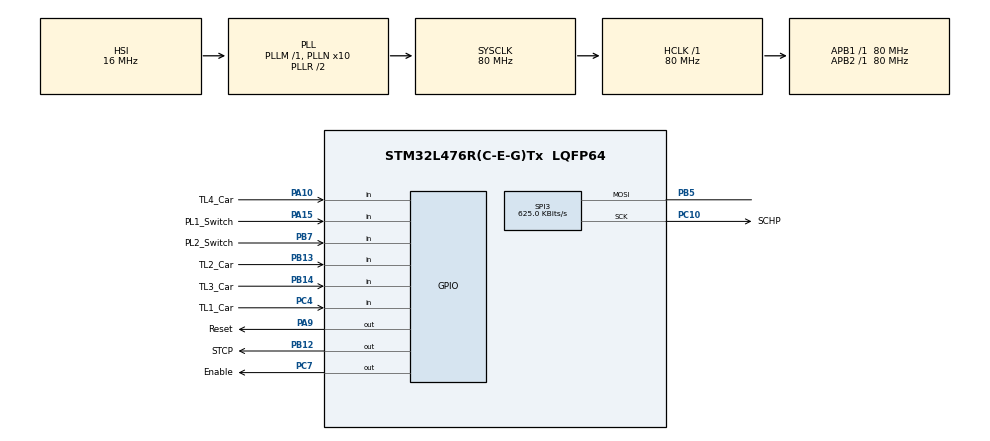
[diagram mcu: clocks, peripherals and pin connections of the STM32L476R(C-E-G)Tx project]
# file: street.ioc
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FREERTOS.BinarySemaphores01=buttonsSem,Dynamic,NULL;switchesSem,Dynamic,NULL
FREERTOS.Mutexes01=event,Dynamic,NULL
FREERTOS.Tasks01=defaultTask,50,128,StartDefaultTask,Default,NULL,Dynamic,NULL,NULL;GPIO_Button1,40,128,Button_Task1,Default,NULL,Dynamic,NULL,NULL;GPIO_Switches,40,128,Switches,Default,NULL,Dynamic,NULL,NULL;Timer_Func,49,128,timer,Default,NULL,Dynamic,NULL,NULL;GPIO_Button2,40,128,Button_Task2,Default,NULL,Dynamic,NULL,NULL
FREERTOS.configTOTAL_HEAP_SIZE=4000
FREERTOS.configUSE_NEWLIB_REENTRANT=1
Mcu.Family=STM32L4
Mcu.Name=STM32L476R(C-E-G)Tx
Mcu.Package=LQFP64
NVIC.PriorityGroup=NVIC_PRIORITYGROUP_4
NVIC.TIM1_UP_TIM16_IRQn=true\:15\:0\:false\:false\:true\:false\:false\:true\:true
NVIC.TimeBase=TIM1_UP_TIM16_IRQn
NVIC.TimeBaseIP=TIM1
PA10.GPIO_Label=TL4_Car
PA10.Signal=GPIO_Input
PA15\ (JTDI).GPIO_Label=PL1_Switch
PA15\ (JTDI).GPIO_PuPd=GPIO_PULLUP
PA15\ (JTDI).Signal=GPIO_Input
PA9.GPIO_Label=Reset
PA9.Signal=GPIO_Output
PB12.GPIO_Label=STCP
PB12.Signal=GPIO_Output
PB13.GPIO_Label=TL2_Car
PB13.Signal=GPIO_Input
PB14.GPIO_Label=TL3_Car
PB14.Signal=GPIO_Input
PB5.Mode=Simplex_Bidirectional_Master
PB5.Signal=SPI3_MOSI
PB7.GPIO_Label=PL2_Switch
PB7.GPIO_PuPd=GPIO_PULLUP
PB7.Signal=GPIO_Input
PC10.GPIO_Label=SCHP
PC10.Mode=Simplex_Bidirectional_Master
PC10.Signal=SPI3_SCK
PC4.GPIO_Label=TL1_Car
PC4.Signal=GPIO_Input
PC7.GPIO_Label=Enable
PC7.Signal=GPIO_Output
PH0-OSC_IN\ (PH0).Mode=HSE-External-Oscillator
PH0-OSC_IN\ (PH0).Signal=RCC_OSC_IN
PH1-OSC_OUT\ (PH1).Mode=HSE-External-Oscillator
PH1-OSC_OUT\ (PH1).Signal=RCC_OSC_OUT
ProjectManager.HeapSize=0x200
ProjectManager.StackSize=0x400
ProjectManager.TargetToolchain=STM32CubeIDE
RCC.ADCFreq_Value=64000000
RCC.AHBFreq_Value=80000000
RCC.APB1Freq_Value=80000000
RCC.APB1TimFreq_Value=80000000
RCC.APB2Freq_Value=80000000
RCC.APB2TimFreq_Value=80000000
RCC.CortexFreq_Value=80000000
RCC.HCLKFreq_Value=80000000
RCC.HSE_VALUE=8000000
RCC.HSI_VALUE=16000000
RCC.LSE_VALUE=32768
RCC.MSI_VALUE=4000000
RCC.PLLN=10
RCC.PLLSourceVirtual=RCC_PLLSOURCE_HSI
RCC.PREFETCH_ENABLE=1
RCC.SYSCLKFreq_VALUE=80000000
RCC.SYSCLKSource=RCC_SYSCLKSOURCE_PLLCLK
RCC.USBFreq_Value=64000000
RCC.VCOOutputFreq_Value=160000000
SPI3.BaudRatePrescaler=SPI_BAUDRATEPRESCALER_128
SPI3.CalculateBaudRate=625.0 KBits/s
SPI3.DataSize=SPI_DATASIZE_8BIT
SPI3.Direction=SPI_DIRECTION_1LINE
SPI3.Mode=SPI_MODE_MASTER
SPI3.VirtualType=VM_MASTER
VP_FREERTOS_VS_CMSIS_V2.Mode=CMSIS_V2
VP_SYS_VS_tim1.Mode=TIM1
board=NUCLEO-L476RG

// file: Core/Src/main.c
/* USER CODE BEGIN Header */
/**
  ******************************************************************************
  * @file           : main.c
  * @brief          : Main program body
  ******************************************************************************
  * @attention
  *
  * Copyright (c) 2022 STMicroelectronics.
  * All rights reserved.
  *
  * This software is licensed under terms that can be found in the LICENSE file
  * in the root directory of this software component.
  * If no LICENSE file comes with this software, it is provided AS-IS.
  *
  ******************************************************************************
  */
/* USER CODE END Header */
#include "main.h"
#include "cmsis_os.h"
#include "spi.h"
#include "gpio.h"

/* USER CODE BEGIN Includes */
#include "FreeRTOS.h"
#include "streetFunc.H"
#include "Test.h"

//#define RUN_TEST_PROGRAM
/* USER CODE END Includes */

void SystemClock_Config(void);
void MX_FREERTOS_Init(void);

int main(void)
{

  /* MCU Configuration--------------------------------------------------------*/

  /* Reset of all peripherals, Initializes the Flash interface and the Systick. */
  HAL_Init();

  /* Configure the system clock */
  SystemClock_Config();

  /* Initialize all configured peripherals */
  MX_GPIO_Init();
  MX_SPI3_Init();
  /* USER CODE BEGIN 2 */
  HAL_GPIO_WritePin(Reset_GPIO_Port, Reset_Pin, GPIO_PIN_SET);
    //Set Enable active low
  HAL_GPIO_WritePin(Enable_GPIO_Port, Enable_Pin, GPIO_PIN_RESET);

#ifdef RUN_TEST_PROGRAM
  	  Test_program();
#else
  	 Led_Clear();
  	  /* Init scheduler */
  	  osKernelInitialize();  /* Call init function for freertos objects (in freertos.c) */
  	  MX_FREERTOS_Init();

  	  /* Start scheduler */
  	  osKernelStart();
#endif
  /* USER CODE END 2 */

  /* We should never get here as control is now taken by the scheduler */
  /* Infinite loop */
  /* USER CODE BEGIN WHILE */
  // Reset all shift registers

  while (1)
  {
    /* USER CODE END WHILE */

  }
}

void SystemClock_Config(void)
{
  RCC_OscInitTypeDef RCC_OscInitStruct = {0};
  RCC_ClkInitTypeDef RCC_ClkInitStruct = {0};

  /** Configure the main internal regulator output voltage
  */
  if (HAL_PWREx_ControlVoltageScaling(PWR_REGULATOR_VOLTAGE_SCALE1) != HAL_OK)
  {
    Error_Handler();
  }

  /** Initializes the RCC Oscillators according to the specified parameters
  * in the RCC_OscInitTypeDef structure.
  */
  RCC_OscInitStruct.OscillatorType = RCC_OSCILLATORTYPE_HSI;
  RCC_OscInitStruct.HSIState = RCC_HSI_ON;
  RCC_OscInitStruct.HSICalibrationValue = RCC_HSICALIBRATION_DEFAULT;
  RCC_OscInitStruct.PLL.PLLState = RCC_PLL_ON;
  RCC_OscInitStruct.PLL.PLLSource = RCC_PLLSOURCE_HSI;
  RCC_OscInitStruct.PLL.PLLM = 1;
  RCC_OscInitStruct.PLL.PLLN = 10;
  RCC_OscInitStruct.PLL.PLLP = RCC_PLLP_DIV7;
  RCC_OscInitStruct.PLL.PLLQ = RCC_PLLQ_DIV2;
  RCC_OscInitStruct.PLL.PLLR = RCC_PLLR_DIV2;
  if (HAL_RCC_OscConfig(&RCC_OscInitStruct) != HAL_OK)
  {
    Error_Handler();
  }

  /** Initializes the CPU, AHB and APB buses clocks
  */
  RCC_ClkInitStruct.ClockType = RCC_CLOCKTYPE_HCLK|RCC_CLOCKTYPE_SYSCLK
                              |RCC_CLOCKTYPE_PCLK1|RCC_CLOCKTYPE_PCLK2;
  RCC_ClkInitStruct.SYSCLKSource = RCC_SYSCLKSOURCE_PLLCLK;
  RCC_ClkInitStruct.AHBCLKDivider = RCC_SYSCLK_DIV1;
  RCC_ClkInitStruct.APB1CLKDivider = RCC_HCLK_DIV1;
  RCC_ClkInitStruct.APB2CLKDivider = RCC_HCLK_DIV1;

  if (HAL_RCC_ClockConfig(&RCC_ClkInitStruct, FLASH_LATENCY_4) != HAL_OK)
  {
    Error_Handler();
  }
}

void HAL_TIM_PeriodElapsedCallback(TIM_HandleTypeDef *htim)
{
  if (htim->Instance == TIM1) {
    HAL_IncTick();
  }
}

void Error_Handler(void)
{
  __disable_irq();
  while (1)
  {
  }
}

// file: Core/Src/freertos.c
/* USER CODE BEGIN Header */
/**
 ******************************************************************************
 * File Name          : freertos.c
 * Description        : Code for freertos applications
 ******************************************************************************
 * @attention
 *
 * Copyright (c) 2022 STMicroelectronics.
 * All rights reserved.
 *
 * This software is licensed under terms that can be found in the LICENSE file
 * in the root directory of this software component.
 * If no LICENSE file comes with this software, it is provided AS-IS.
 *
 ******************************************************************************
 */
/* USER CODE END Header */

#include "FreeRTOS.h"
#include "task.h"
#include "main.h"
#include "cmsis_os.h"

/* USER CODE BEGIN Includes */
#include <stdbool.h>
#include "streetFunc.h"
#include "Test.h"
/* USER CODE END Includes */

/* USER CODE BEGIN PTD */
typedef enum {
	Vertical, Horizontal, Yellow
} states1;

typedef enum {
	Default, Button1, Button2, Horizontal_Car, Vertical_Car
} states2;

static states1 state;
static states2 GPIO_State;
/* USER CODE END PTD */

/* USER CODE BEGIN Variables */
bool Waiting_Cars = false;

uint32_t toggleFreq = 100; //Toogle frequency for pedestrian light
uint32_t pedestrianDelay = 6000; //Time from pedestrian button pressed to green light
uint32_t walkingDelay = 15000; //Delay for pedestrian crossing
uint32_t orangeDelay = 3000; //Delay for orange light time
uint32_t greenDelay = 6000; // The default delay between green-yellow red-yellow when no cars are present
uint32_t redDelayMax = 5000; //The maximum delay a car has a red light when arriving at the crossing when cars going vertically are present.

/* USER CODE END Variables */
/* Definitions for defaultTask */
osThreadId_t defaultTaskHandle;
const osThreadAttr_t defaultTask_attributes = { .name = "defaultTask",
		.stack_size = 128 * 4, .priority = (osPriority_t) osPriorityRealtime2, };
/* Definitions for GPIO_Button1 */
osThreadId_t GPIO_Button1Handle;
const osThreadAttr_t GPIO_Button1_attributes = { .name = "GPIO_Button1",
		.stack_size = 128 * 4, .priority = (osPriority_t) osPriorityHigh, };
/* Definitions for GPIO_Switches */
osThreadId_t GPIO_SwitchesHandle;
const osThreadAttr_t GPIO_Switches_attributes = { .name = "GPIO_Switches",
		.stack_size = 128 * 4, .priority = (osPriority_t) osPriorityHigh, };
/* Definitions for Timer_Func */
osThreadId_t Timer_FuncHandle;
const osThreadAttr_t Timer_Func_attributes = { .name = "Timer_Func",
		.stack_size = 128 * 4, .priority = (osPriority_t) osPriorityRealtime1, };
/* Definitions for GPIO_Button2 */
osThreadId_t GPIO_Button2Handle;
const osThreadAttr_t GPIO_Button2_attributes = { .name = "GPIO_Button2",
		.stack_size = 128 * 4, .priority = (osPriority_t) osPriorityHigh, };
/* Definitions for event */
osMutexId_t eventHandle;
const osMutexAttr_t event_attributes = { .name = "event" };
/* Definitions for buttonsSem */
osSemaphoreId_t buttonsSemHandle;
const osSemaphoreAttr_t buttonsSem_attributes = { .name = "buttonsSem" };
/* Definitions for switchesSem */
osSemaphoreId_t switchesSemHandle;
const osSemaphoreAttr_t switchesSem_attributes = { .name = "switchesSem" };

void StartDefaultTask(void *argument);
void Button_Task1(void *argument);
void Switches(void *argument);
void timer(void *argument);
void Button_Task2(void *argument);
void Stall_Function(uint32_t delay);
void Button1_TimerHandler(void);
void Button2_TimerHandler(void);

void MX_FREERTOS_Init(void); /* (MISRA C 2004 rule 8.1) */

void MX_FREERTOS_Init(void) {
	/* Create the mutex(es) */
	/* creation of event */
	eventHandle = osMutexNew(&event_attributes);

	/* Create the semaphores(s) */
	/* creation of buttonsSem */
	buttonsSemHandle = osSemaphoreNew(1, 1, &buttonsSem_attributes);

	/* creation of switchesSem */
	switchesSemHandle = osSemaphoreNew(1, 1, &switchesSem_attributes);

	/* Create the thread(s) */
	/* creation of defaultTask */
	defaultTaskHandle = osThreadNew(StartDefaultTask, NULL,
			&defaultTask_attributes);

	/* creation of GPIO_Button1 */
	GPIO_Button1Handle = osThreadNew(Button_Task1, NULL,
			&GPIO_Button1_attributes);

	/* creation of GPIO_Switches */
	GPIO_SwitchesHandle = osThreadNew(Switches, NULL,
			&GPIO_Switches_attributes);

	/* creation of Timer_Func */
	Timer_FuncHandle = osThreadNew(timer, NULL, &Timer_Func_attributes);

	/* creation of GPIO_Button2 */
	GPIO_Button2Handle = osThreadNew(Button_Task2, NULL,
			&GPIO_Button2_attributes);

}

void StartDefaultTask(void *argument) {
	/* USER CODE BEGIN StartDefaultTask */
	//Highest priority task which cycles through the different states
	//Depending on the delay in Timer-task
	//Set the GPIO to default, meaning no user input at initialisation
	GPIO_State = Default;
	/* Infinite loop */
	for (;;) {
		state = Vertical;
		States(1); //Display the LEDS for when cars going vertically has the green light
		vTaskDelay(1); // Small delay to prevent loss of data to the LEDS
		vTaskSuspend(defaultTaskHandle);

		state = Yellow;
		States(3);
		vTaskSuspend(defaultTaskHandle);

		state = Horizontal;
		States(2);
		vTaskDelay(1);
		vTaskSuspend(defaultTaskHandle);

		state = Yellow;
		States(3);
		vTaskDelay(1);
		vTaskSuspend(defaultTaskHandle);

	}
	/* USER CODE END StartDefaultTask */
}

void Button_Task1(void *argument) {
	/* USER CODE BEGIN Button_Task1 */
	/* Infinite loop */
	for (;;) {
		if (Crossing_Button1() == true && state != Horizontal)
			while (state != Horizontal) {
				Flash_Led(6, 'b', 1, 1);
				vTaskDelay(pdMS_TO_TICKS(toggleFreq));
				if ((osSemaphoreAcquire(buttonsSemHandle, 1) == osOK))
					GPIO_State = Button1;
			}
		Blue_Clear1();

	}
	/* USER CODE END Button_Task1 */
}

void Switches(void *argument) {
	/* USER CODE BEGIN Switches */
	/* Infinite loop */
	for (;;) {
		if ((osSemaphoreAcquire(buttonsSemHandle, 1) == osOK)) {
			osSemaphoreRelease(buttonsSemHandle);
			if (Car_Vertical() == true && Car_Horizontal() == true
					&& GPIO_State != (Button1 || Button2)) {
				GPIO_State = Default;
				Waiting_Cars = true;
			}

			else if (Car_Horizontal() == true && Car_Vertical() == false
					&& GPIO_State != (Button1 || Button2)) {
				GPIO_State = Horizontal_Car;
			}

			else if (Car_Vertical() == true && Car_Horizontal() == false
					&& GPIO_State != (Button1 || Button2)) {
				GPIO_State = Vertical_Car;
			} else if (GPIO_State != (Button1 || Button2)) {
				GPIO_State = Default;
				Waiting_Cars = false;
			}
		}
		vTaskDelay(10);
	}
	/* USER CODE END Switches */
}

void timer(void *argument) {
	/* USER CODE BEGIN timer */
	/* Infinite loop */
	for (;;) {
		switch (GPIO_State) {
		case Default: {
			if (state == Yellow) {
				Stall_Function(orangeDelay);
			} else if (Waiting_Cars == true) {
				Stall_Function(redDelayMax);
			} else {
				Stall_Function(greenDelay);
			}
			break;
		}
		case Button1: { //if any of buttons been pressed
			Button1_TimerHandler();

			break;
		}
		case Button2: { //if any of buttons been pressed
			Button2_TimerHandler();
			break;
		}
		case Horizontal_Car: {
			if (state == Horizontal) {
				vTaskDelay(10);
			} else {
				vTaskResume(defaultTaskHandle);

			}
			break;
		}
		case Vertical_Car: {
			if (state == Vertical) {
				vTaskDelay(10);
			} else {
				vTaskResume(defaultTaskHandle);

			}

			break;
		}

		}
	}

	/* USER CODE END timer */
}

void Button_Task2(void *argument) {
	/* USER CODE BEGIN Button_Task2 */
	/* Infinite loop */
	for (;;) {
		if (Crossing_Button2() == true && state != Vertical) {
			while (state != Vertical) {
				Flash_Led(5, 'b', 1, 1);
				vTaskDelay(pdMS_TO_TICKS(toggleFreq));
				if ((osSemaphoreAcquire(buttonsSemHandle, 1) == osOK))
					GPIO_State = Button2;
			}
			Blue_Clear2();
		}
	}
	/* USER CODE END Button_Task2 */
}

/* USER CODE BEGIN Application */
void Stall_Function(uint32_t delay) {
	vTaskDelay(pdMS_TO_TICKS(delay));
	vTaskResume(defaultTaskHandle);
}
void Button1_TimerHandler(void) {
	if (state == Yellow) { //if the button was pressed when there was a orange light
		Stall_Function(orangeDelay);
	} else if (state == Horizontal) {
		vTaskDelay(pdMS_TO_TICKS(walkingDelay));
		osSemaphoreRelease(buttonsSemHandle);
		GPIO_State = Default;
	} else {
		Stall_Function(pedestrianDelay - orangeDelay);
		Stall_Function(orangeDelay);
		vTaskDelay(pdMS_TO_TICKS(walkingDelay));
		osSemaphoreRelease(buttonsSemHandle);
		GPIO_State = Default;
	}
}

void Button2_TimerHandler(void) {
	if (state == Yellow) { //if the button was pressed when there was a orange light
		Stall_Function(orangeDelay);
	} else if (state == Vertical) {
		vTaskDelay(pdMS_TO_TICKS(walkingDelay));
		osSemaphoreRelease(buttonsSemHandle);
		GPIO_State = Default;
	} else {
		Stall_Function(pedestrianDelay - orangeDelay);
		Stall_Function(orangeDelay);
		vTaskDelay(pdMS_TO_TICKS(walkingDelay));
		osSemaphoreRelease(buttonsSemHandle);
		GPIO_State = Default;
	}
}

/* USER CODE END Application */
